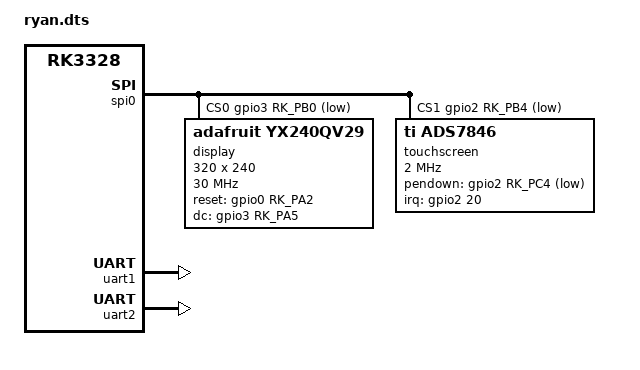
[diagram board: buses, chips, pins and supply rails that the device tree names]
/dts-v1/;
/plugin/;

#include <dt-bindings/gpio/gpio.h>
#include <dt-bindings/pinctrl/rockchip.h>
#include <dt-bindings/interrupt-controller/irq.h>


/ {
	compatible = "rockchip,rk3328";

	fragment@0 {
		target-path = "/aliases";
		
		__overlay__ {
			spi0 = "/soc/spi@ff190000";
		};
	};
	fragment@1 {
		target = <&spi0>;
		
		__overlay__ {
			status = "okay";
			num-cs = <2>;
			pinctrl-names = "default", "default";
			pinctrl-1 = <&spi0m0_cs1>;
			cs-gpios = <&gpio3 RK_PB0 GPIO_ACTIVE_LOW>, <&gpio2 RK_PB4 GPIO_ACTIVE_LOW>;
		};
	};
	fragment@2 {
		target = <&spi0>;
		
		__overlay__ {

			display@0 {
/*				compatible = "waveshare,rpi-lcd-35", "ilitek,ili9486";*/
				compatible = "adafruit,yx240qv29", "ilitek,ili9341";
				rotation = <270>;
				height = <240>;
				width = <320>;
				reg = <0>;
				spi-max-frequency = <30000000>;
				reset-gpios = <&gpio0 RK_PA2 GPIO_ACTIVE_HIGH>;
				dc-gpios = <&gpio3 RK_PA5 GPIO_ACTIVE_HIGH>;
				status = "okay";
			};

			touchscreen@1 {
				compatible = "ti,ads7846";
				pinctrl-names = "default";
				pinctrl-0 = <&i2s1_sdio1>;
				reg = <1>;
				spi-max-frequency = <2000000>;
				interrupt-parent = <&gpio2>;
				interrupts = <20 IRQ_TYPE_EDGE_FALLING>;
				pendown-gpio = <&gpio2 RK_PC4 GPIO_ACTIVE_LOW>;
				ti,x-min = /bits/ 16 <0>;
                                ti,y-min = /bits/ 16 <0>;
                                ti,x-max = /bits/ 16 <4095>;
                                ti,y-max = /bits/ 16 <4095>;
                                ti,pressure-min = /bits/ 16 <0>;
                                ti,pressure-max = /bits/ 16 <0xFFFF>;
                                ti,x-plate-ohms = /bits/ 16 <100>;
                                ti,swap-xy = <1>; /* Enable swap_xy */
				wakeup-source;
				status = "okay";
			};
		};
	};
	fragment@3 {
                target = <&uart1>;
                __overlay__ {
                        status = "okay";
                };
        };
	fragment@4 {
                target = <&uart2>;
                __overlay__ {
                        status = "okay";
                };
        };


};



